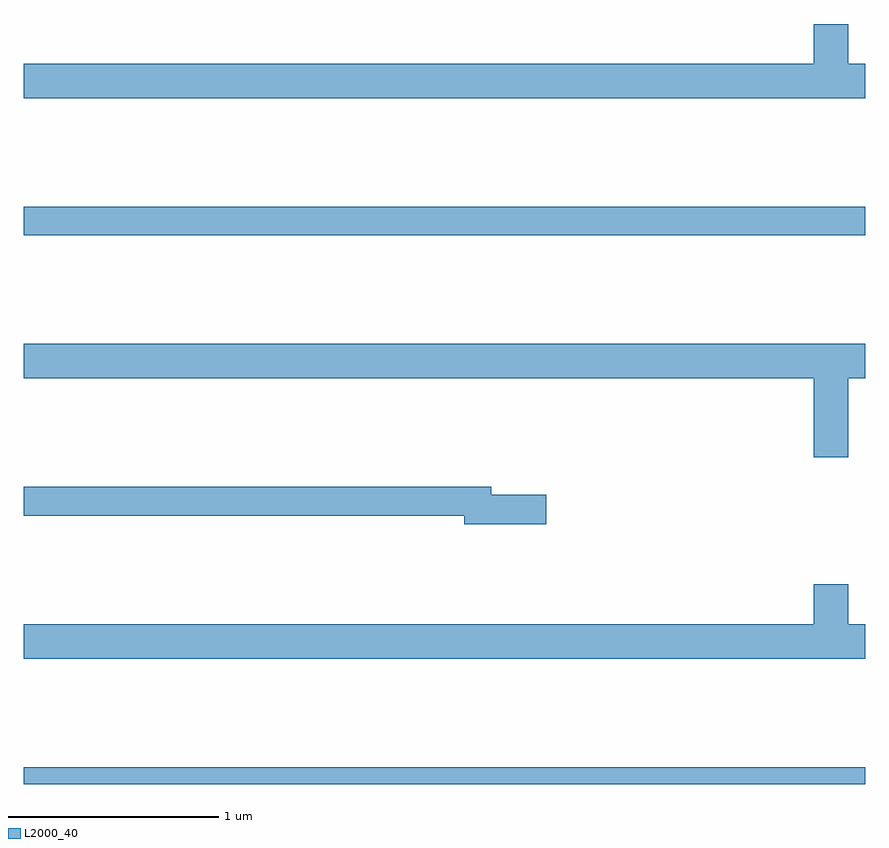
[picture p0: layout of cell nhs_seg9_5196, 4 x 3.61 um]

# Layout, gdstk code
import gdstk
lib = gdstk.Library(unit=1e-6, precision=1e-09)
def R(c, l, rs):  # rectangles x0, y0, x1, y1
    for r in rs: c.add(gdstk.rectangle(r[:2], r[2:], *l))
def P(c, l, *ps):  # polygons
    for p in ps: c.add(gdstk.Polygon(p, *l))
L2000_40 = (2000, 40)

nhs_seg9_5196 = lib.new_cell('nhs_seg9_5196')
R(nhs_seg9_5196, L2000_40, [(413,1186.5,417,1186.58), (413,1189.108,417,1189.244)])
P(nhs_seg9_5196, L2000_40, [(416.756,1190.113),(416.756,1189.924),(413,1189.924),(413,1189.76),(417,1189.76),(417,1189.924),(416.92,1189.924),(416.92,1190.113)],
  [(416.92,1188.428),(417,1188.428),(417,1188.592),(413,1188.592),(413,1188.428),(416.756,1188.428),(416.756,1188.054),(416.92,1188.054)],
  [(415.483,1187.876),(415.222,1187.876),(415.222,1187.912),(413,1187.912),(413,1187.776),(415.094,1187.776),(415.094,1187.734),(415.483,1187.734)],
  [(417,1187.26),(416.92,1187.26),(416.92,1187.449),(416.756,1187.449),(416.756,1187.26),(413,1187.26),(413,1187.096),(417,1187.096)])

lib.write_gds('nhs_seg9_5196.gds')
